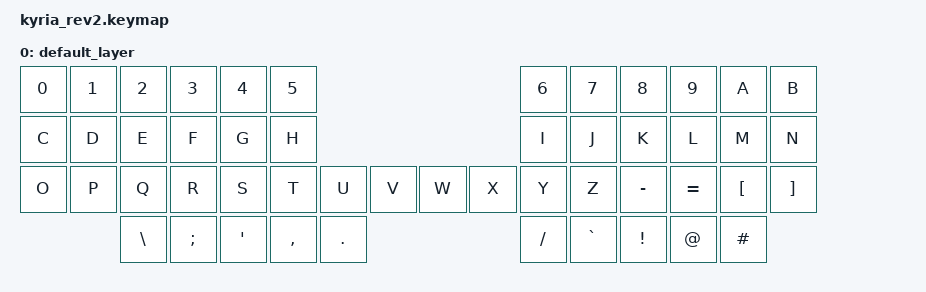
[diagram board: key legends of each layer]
#include <behaviors.dtsi>
#include <dt-bindings/zmk/keys.h>
#include <dt-bindings/zmk/bt.h>
#include <dt-bindings/zmk/outputs.h>

// mouse 
#define ZMK_POINTING_DEFAULT_MOVE_VAL 600  // default: 600
#define ZMK_POINTING_DEFAULT_SCRL_VAL 20   // default: 10
#include <dt-bindings/zmk/pointing.h>


#define DEFAULT 0
#define ONE 1
#define TWO 2
#define THREE 3
#define FOUR 4
#define FIVE 5
#define SIX 6


/ {

keymap {
        compatible = "zmk,keymap";
        default_layer {
 bindings = < 
 &kp N0       &kp N1         &kp N2       &kp N3      &kp N4 &kp N5                         &kp N6 &kp N7 &kp N8 &kp N9 &kp A &kp B
 &kp C        &kp D          &kp E        &kp F       &kp G &kp H                         &kp I &kp J &kp K &kp L &kp M &kp N
 &kp O        &kp P          &kp Q        &kp R       &kp S &kp T &kp U &kp V &kp W &kp X &kp Y &kp Z &kp MINUS &kp EQUAL &kp LBKT &kp RBKT
                             &kp BSLH     &kp SEMI    &kp SQT &kp COMMA &kp DOT &kp SLASH &kp GRAVE &kp EXCL &kp AT &kp HASH
            >;                  
        };          
    };
};


